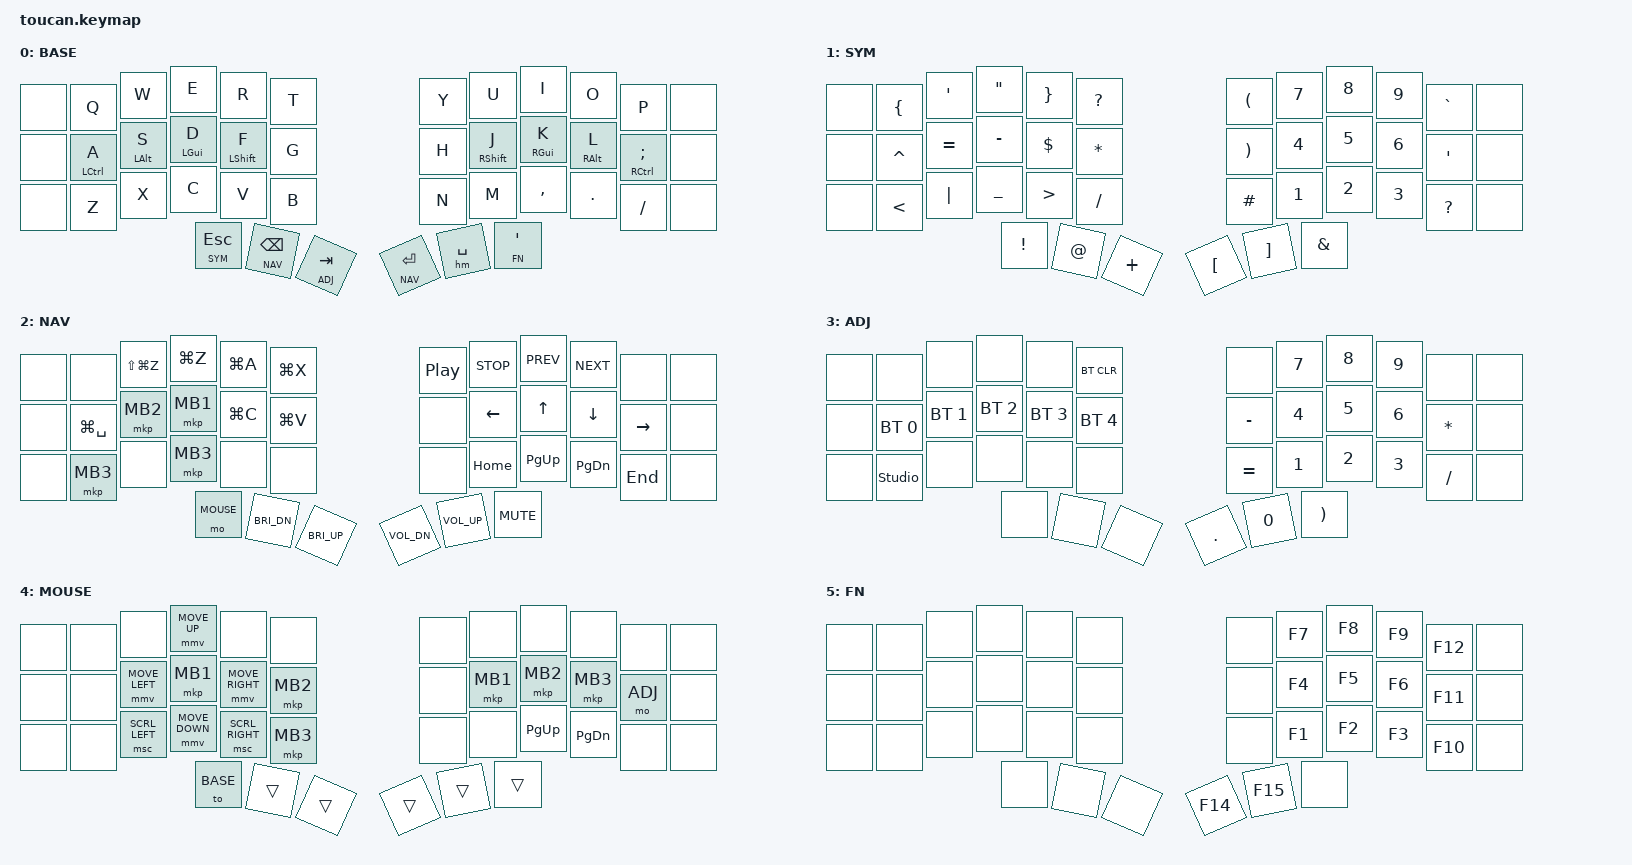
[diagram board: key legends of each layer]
#include <dt-bindings/zmk/keys.h>
#include <dt-bindings/zmk/bt.h>
#include <dt-bindings/zmk/outputs.h>
#include <dt-bindings/zmk/pointing.h>

#define BASE  0
#define SYM   1
#define NAV   2
#define ADJ   3
#define MOUSE 4
#define FN    5

/ {
    macros {
        hm: hyper_mods {
            compatible = "zmk,behavior-macro";
            #binding-cells = <0>;
            wait-ms = <0>;
            tap-ms = <0>;
            bindings
                = <&macro_press &kp RCTRL &kp RSHFT &kp RALT &kp RGUI>
                , <&macro_pause_for_release>
                , <&macro_release &kp RCTRL &kp RSHFT &kp RALT &kp RGUI>
                ;
        };
    };

    behaviors {
        hsp: hyper_space {
            compatible = "zmk,behavior-hold-tap";
            #binding-cells = <2>;
            flavor = "hold-preferred";
            tapping-term-ms = <200>;
            bindings = <&hm>, <&kp>;
            display-name = "Hyper Space";
        };
    };

    conditional_layers {
        compatible = "zmk,conditional-layers";
        tri_layer {
            if-layers = <SYM NAV>;
            then-layer = <ADJ>;
        };
    };

    keymap {
        compatible = "zmk,keymap";

        base {
            display-name = "BASE";
            bindings = <
                &none &kp Q           &kp W        &kp E        &kp R         &kp T     &kp Y     &kp U         &kp I          &kp O        &kp P           &none
                &none &mt LCTRL A     &mt LALT S   &mt LGUI D   &mt LSHFT F   &kp G     &kp H     &mt RSHFT J   &mt RGUI K     &mt RALT L   &mt RCTRL SEMI  &none
                &none &kp Z           &kp X        &kp C        &kp V         &kp B     &kp N     &kp M         &kp COMMA      &kp DOT      &kp FSLH        &none
                                      &lt SYM ESC  &lt NAV BSPC &lt ADJ TAB   &lt NAV RET &hsp 0 SPACE &lt FN SQT
            >;
        };

        sym {
            display-name = "SYM";
            bindings = <
                &none &kp LBRC  &kp SQT   &kp DQT   &kp RBRC  &kp QMARK   &kp LPAR  &kp N7  &kp N8  &kp N9  &kp GRAVE &none
                &none &kp CARET &kp EQUAL &kp MINUS &kp DLLR  &kp STAR    &kp RPAR  &kp N4  &kp N5  &kp N6  &kp SQT   &none
                &none &kp LT    &kp PIPE  &kp UNDER &kp GT    &kp FSLH    &kp HASH  &kp N1  &kp N2  &kp N3  &kp QMARK &none
                                      &kp EXCL  &kp AT    &kp PLUS    &kp LBKT &kp RBKT &kp AMPS
            >;
        };

        nav {
            display-name = "NAV";
            bindings = <
                &none &none       &kp LS(LG(Z)) &kp LG(Z)    &kp LG(A)  &kp LG(X)    &kp C_PP   &kp C_STOP &kp C_PREV &kp C_NEXT &none     &none
                &none &kp LG(SPC) &mkp MB2      &mkp MB1     &kp LG(C)  &kp LG(V)    &none      &kp LEFT   &kp UP     &kp DOWN   &kp RIGHT &none
                &none &mkp MB3    &none         &mkp MB3     &none      &none        &none      &kp HOME   &kp PG_UP  &kp PG_DN  &kp END   &none
                                           &mo MOUSE &kp C_BRI_DN &kp C_BRI_UP    &kp C_VOL_DN &kp C_VOL_UP &kp C_MUTE
            >;
        };

        adj {
            display-name = "ADJ";
            bindings = <
                &none &none           &none        &none        &none        &bt BT_CLR     &none      &kp N7  &kp N8  &kp N9  &none    &none
                &none &bt BT_SEL 0    &bt BT_SEL 1 &bt BT_SEL 2 &bt BT_SEL 3 &bt BT_SEL 4   &kp MINUS  &kp N4  &kp N5  &kp N6  &kp STAR  &none
                &none &studio_unlock  &none        &none        &none        &none          &kp EQUAL  &kp N1  &kp N2  &kp N3  &kp FSLH  &none
                                             &none       &none        &none        &kp DOT &kp N0 &kp RPAR
            >;
        };

        mouse {
            display-name = "MOUSE";
            bindings = <
                &none &none      &none          &mmv MOVE_UP   &none            &none             &none      &none     &none     &none       &none     &none
                &none &none      &mmv MOVE_LEFT &mkp MB1       &mmv MOVE_RIGHT  &mkp MB2          &none      &mkp MB1  &mkp MB2  &mkp MB3    &mo ADJ   &none
                &none &none      &msc SCRL_LEFT &mmv MOVE_DOWN &msc SCRL_RIGHT  &mkp MB3          &none      &none     &kp PG_UP &kp PG_DN   &none     &none
                                                &to BASE       &trans           &trans            &trans     &trans    &trans
            >;
        };

        fn {
            display-name = "FN";
            bindings = <
                &none &none   &none   &none   &none   &none      &none  &kp F7  &kp F8  &kp F9  &kp F12 &none
                &none &none   &none   &none   &none   &none      &none  &kp F4  &kp F5  &kp F6  &kp F11 &none
                &none &none   &none   &none   &none   &none      &none  &kp F1  &kp F2  &kp F3  &kp F10 &none
                                      &none   &none   &none      &kp F14 &kp F15 &none
            >;
        };

        extra_1 {
            status = "reserved";
        };

        extra_2 {
            status = "reserved";
        };

        extra_3 {
            status = "reserved";
        };
    };
};
